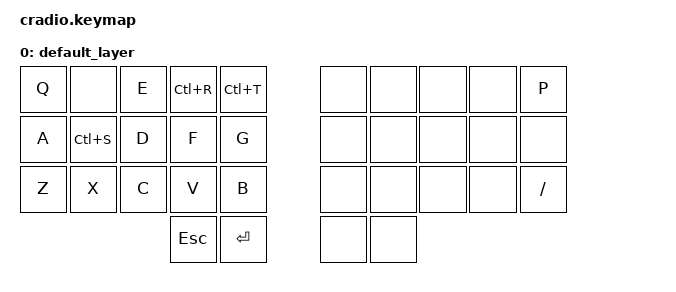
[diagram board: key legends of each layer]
// Copyright (c) 2022 The ZMK Contributors
// SPDX-License-Identifier: MIT

#include <behaviors.dtsi>
#include <dt-bindings/zmk/keys.h>
#include <dt-bindings/zmk/bt.h>

/ {
    keymap {
        compatible = "zmk,keymap";
        default_layer {
            bindings = <
        //╭──────────┬──────────┬──────────┬──────────────┬──────────────╮   ╭───────────┬───────────┬───────────┬───────────┬────────────╮
        //│  Q       │  W(dead) │  E       │ R (Ctrl+R:   │ T (Ctrl+T:   │   │ (unwired) │ (unwired) │ (unwired) │ (unwired) │ P (paddle) │
        //│          │          │          │  restart)    │  teleport)   │   │           │           │           │           │            │
            &kp Q      &none      &kp E      &kp LC(R)      &kp LC(T)        &none        &none        &none        &none       &kp P
        //├──────────┼──────────┼──────────┼──────────────┼──────────────┤   ├───────────┼───────────┼───────────┼───────────┼────────────┤
        //│  A       │ S (Ctrl+S│  D       │  F           │  G           │   │ (unwired) │ (unwired) │ (unwired) │ (unwired) │ (unwired)  │
        //│          │  :start) │          │              │              │   │           │           │           │           │            │
            &kp A      &kp LC(S)  &kp D      &kp F          &kp G            &none        &none        &none        &none       &none
        //├──────────┼──────────┼──────────┼──────────────┼──────────────┤   ├───────────┼───────────┼───────────┼───────────┼────────────┤
        //│  Z       │  X       │  C       │  V           │  B           │   │ (unwired) │ (unwired) │ (unwired) │ (unwired) │ / (paddle) │
            &kp Z      &kp X      &kp C      &kp V          &kp B            &none        &none        &none        &none       &kp FSLH
        //╰──────────┴──────────┴──────────┼──────────────┼──────────────┤   ├───────────┼───────────┼───────────┴───────────┴────────────╯
                                             &kp ESC         &kp RET           &none        &none
        //                                 ╰──────────────┴──────────────╯   ╰───────────┴───────────╯
            >;
        };
    };
};
